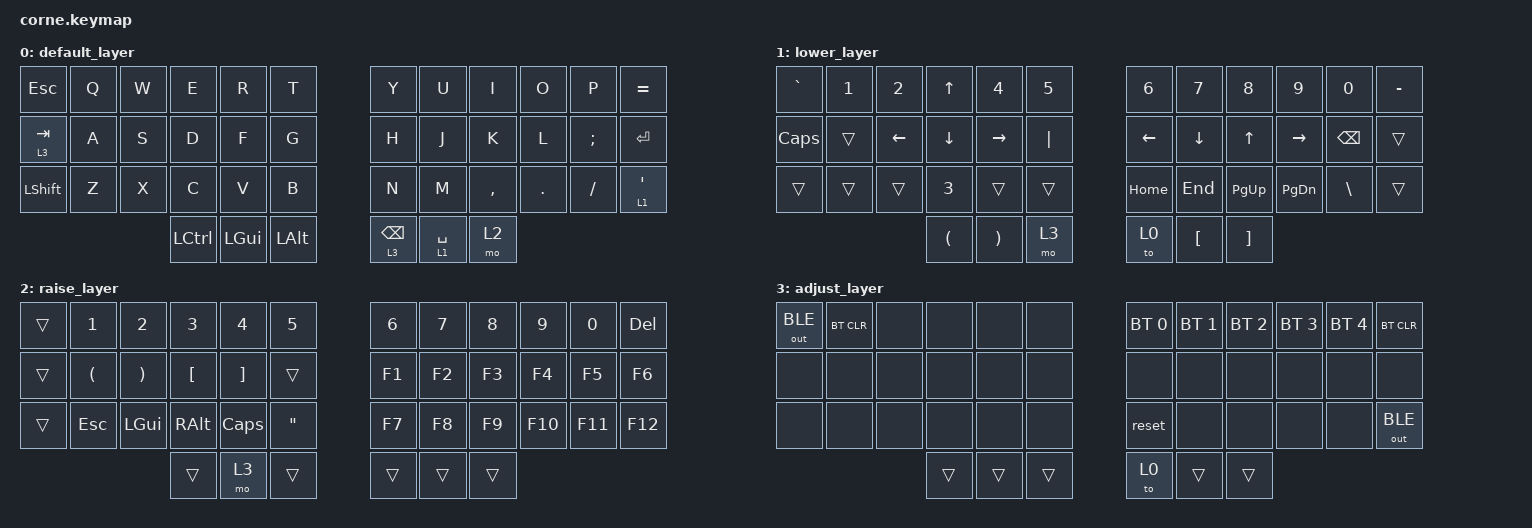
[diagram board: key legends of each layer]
/*
 * Copyright (c) 2020 The ZMK Contributors
 *
 * SPDX-License-Identifier: MIT
 */

#include <behaviors.dtsi>
#include <dt-bindings/zmk/keys.h>
#include <dt-bindings/zmk/bt.h>
#include <dt-bindings/zmk/outputs.h>

/ {
        keymap {
                compatible = "zmk,keymap";

                default_layer {
// -------------------------------------------------------------------------------------
                        bindings = <
   &kp ESC   &kp Q &kp W &kp E &kp R &kp T   &kp Y &kp U  &kp I     &kp O   &kp P    &kp EQUAL
   &lt 3 TAB   &kp A &kp S &kp D &kp F &kp G   &kp H &kp J  &kp K     &kp L   &kp SEMI &kp RET
   &kp LSHFT &kp Z &kp X &kp C &kp V &kp B   &kp N &kp M  &kp COMMA &kp DOT &kp FSLH &lt 1 SQT
                        &kp LCTRL &kp LGUI &kp LALT &lt 3 BACKSPACE &lt 1 SPACE  &mo 2
                        >;
                };

                lower_layer {
// ------------------------------------------------------------------------------------
                        bindings = <
   &kp GRAVE &kp N1    &kp N2      &kp UP   &kp N4    &kp N5         &kp N6    &kp N7    &kp N8    &kp N9    &kp N0    &kp MINUS
   &kp CAPS  &trans    &kp LEFT    &kp DOWN &kp RIGHT &kp PIPE       &kp LEFT  &kp DOWN &kp UP    &kp RIGHT &kp BSPC  &trans
   &trans    &trans    &trans      &kp N3   &trans    &trans         &kp HOME  &kp END  &kp PG_UP &kp PG_DN &kp BSLH  &trans
    &kp LEFT_PARENTHESIS      &kp RIGHT_PARENTHESIS     &mo 3    &to 0   &kp LBKT    &kp RBKT
                        >;
                };

                raise_layer {
// ----------------------------------------------------------------------------
                        bindings = <
   &trans &kp N1               &kp N2                &kp N3    &kp N4    &kp N5        &kp N6    &kp N7    &kp N8    &kp N9    &kp N0    &kp DEL
   &trans &kp LEFT_PARENTHESIS &kp RIGHT_PARENTHESIS &kp LBKT  &kp RBKT  &trans        &kp F1    &kp F2    &kp F3    &kp F4    &kp F5    &kp F6
   &trans &kp ESC              &kp LGUI              &kp RALT  &kp CLCK  &kp DQT       &kp F7    &kp F8    &kp F9    &kp F10   &kp F11   &kp F12
                                &trans      &mo 3   &trans     &trans   &trans      &trans
                        >;
                };

                adjust_layer {
// -----------------------------------------------------------------------------------------
// | RGB BRI+ | RGB SAT+ | RGB HUE+ | RGB ANI+ |    | RGB TOG |   |  BT1  | BT2 | BT3 | BT4 | BT5 | BT CLR |
// | RGB BRI- | RGB SAT- | RGB HUE- | RGB ANI- |    |         |   |       |     |     |     |     |        |
// |          |          |          |          |    |         |   | RESET |     |     |     |     |        |
//                                              |     |     |     |     |     |
                        bindings = <
   &out OUT_BLE &bt BT_CLR   &none        &none        &none        &none              &bt BT_SEL 0 &bt BT_SEL 1 &bt BT_SEL 2 &bt BT_SEL 3 &bt BT_SEL 4 &bt BT_CLR
   &none        &none        &none        &none        &none        &none              &none        &none        &none        &none        &none        &none
   &none        &none        &none        &none        &none        &none              &reset       &none        &none        &none        &none        &out OUT_BLE
                                                             &trans      &trans    &trans    &to 0        &trans      &trans
                        >;
                };
        };
};

